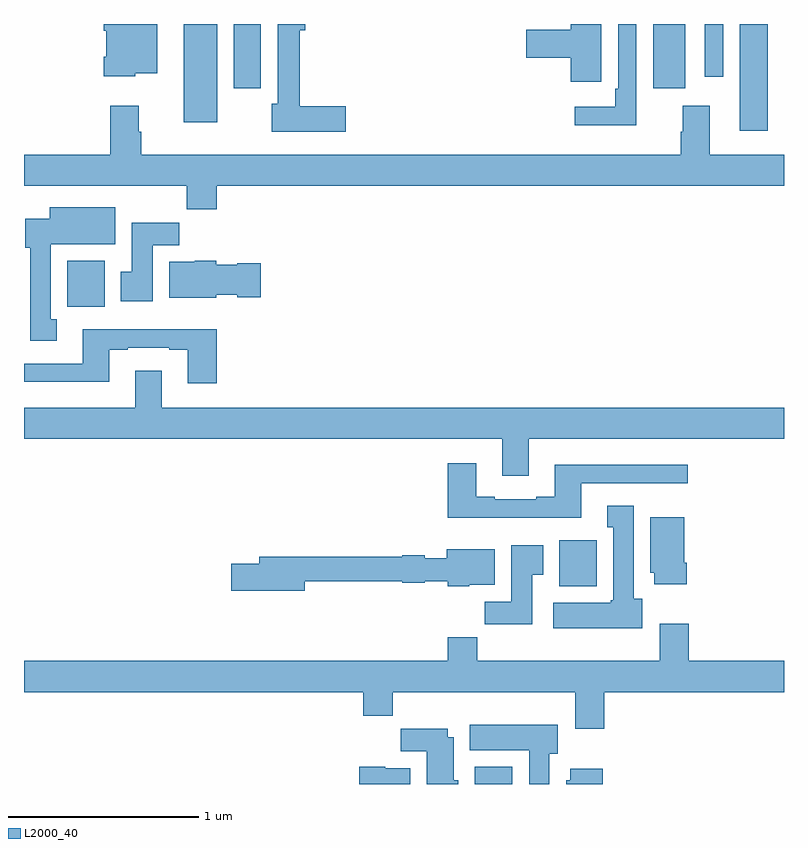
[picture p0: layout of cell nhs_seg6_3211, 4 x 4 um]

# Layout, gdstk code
import gdstk
lib = gdstk.Library(unit=1e-6, precision=1e-09)
def R(c, l, rs):  # rectangles x0, y0, x1, y1
    for r in rs: c.add(gdstk.rectangle(r[:2], r[2:], *l))
def P(c, l, *ps):  # polygons
    for p in ps: c.add(gdstk.Polygon(p, *l))
L2000_40 = (2000, 40)

nhs_seg6_3211 = lib.new_cell('nhs_seg6_3211')
R(nhs_seg6_3211, L2000_40, [(301.373,965.5,301.569,965.59), (301.817,966.542,302.014,966.784), (299.228,968.012,299.425,968.254), (302.768,968.937,302.915,969.5), (299.84,968.984,300.016,969.5), (300.104,969.162,300.247,969.5), (302.312,969.162,302.479,969.5), (302.583,969.222,302.679,969.5)])
P(nhs_seg6_3211, L2000_40, [(302.223,969.5),(302.127,969.5),(302.127,969.16),(302.111,969.16),(302.111,969.064),(301.899,969.064),(301.899,968.966),(302.223,968.966)],
  [(300.694,969.068),(300.452,969.068),(300.452,969.467),(300.479,969.467),(300.479,969.5),(300.336,969.5),(300.336,969.081),(300.305,969.081),(300.305,968.933),(300.694,968.933)],
  [(302.037,969.307),(302.038,969.307),(302.038,969.5),(301.877,969.5),(301.877,969.47),(301.644,969.47),(301.644,969.323),(301.877,969.323),(301.877,969.195),(302.037,969.195)],
  [(299.586,969.242),(299.701,969.242),(299.701,969.5),(299.42,969.5),(299.42,969.464),(299.432,969.464),(299.432,969.328),(299.42,969.328),(299.42,969.224),(299.586,969.224)],
  [(300.014,968.648),(303,968.648),(303,968.812),(302.608,968.812),(302.608,969.07),(302.468,969.07),(302.468,968.933),(302.456,968.933),(302.456,968.812),(299.618,968.812),(299.618,968.933),(299.605,968.933),(299.605,969.07),(299.453,969.07),(299.453,968.812),(299,968.812),(299,968.648),(299.857,968.648),(299.857,968.524),(300.014,968.524)],
  [(299.173,967.946),(299.14,967.946),(299.14,968.342),(299.479,968.342),(299.479,968.536),(299.135,968.536),(299.135,968.476),(299.006,968.476),(299.006,968.322),(299.033,968.322),(299.033,967.833),(299.173,967.833)],
  [(299.677,968.336),(299.816,968.336),(299.816,968.454),(299.567,968.454),(299.567,968.196),(299.51,968.196),(299.51,968.04),(299.677,968.04)],
  [(300.012,968.075),(300.123,968.075),(300.123,968.063),(300.247,968.063),(300.247,968.241),(300.123,968.241),(300.123,968.233),(300.012,968.233),(300.012,968.254),(299.898,968.254),(299.898,968.248),(299.765,968.248),(299.765,968.06),(300.012,968.06)],
  [(300.014,967.894),(299.309,967.894),(299.309,967.713),(299,967.713),(299,967.616),(299.449,967.616),(299.449,967.785),(299.545,967.785),(299.545,967.797),(299.765,967.797),(299.765,967.785),(299.861,967.785),(299.861,967.608),(300.014,967.608)],
  [(301.657,967.316),(303,967.316),(303,967.48),(299.725,967.48),(299.725,967.675),(299.585,967.675),(299.585,967.48),(299,967.48),(299,967.316),(301.517,967.316),(301.517,967.122),(301.657,967.122)],
  [(301.933,967.083),(302.494,967.083),(302.494,967.18),(301.793,967.18),(301.793,967.012),(301.697,967.012),(301.697,966.999),(301.477,966.999),(301.477,967.012),(301.381,967.012),(301.381,967.189),(301.229,967.189),(301.229,966.902),(301.933,966.902)],
  [(302.254,966.474),(302.209,966.474),(302.209,966.964),(302.069,966.964),(302.069,966.851),(302.102,966.851),(302.102,966.468),(302.089,966.468),(302.089,966.454),(301.785,966.454),(301.785,966.32),(302.254,966.32)],
  [(302.489,966.664),(302.476,966.664),(302.476,966.904),(302.297,966.904),(302.297,966.612),(302.318,966.612),(302.318,966.552),(302.489,966.552)],
  [(301.675,966.601),(301.732,966.601),(301.732,966.757),(301.565,966.757),(301.565,966.46),(301.426,966.46),(301.426,966.342),(301.675,966.342)],
  [(300.478,966.567),(300.99,966.567),(300.99,966.559),(301.11,966.559),(301.11,966.566),(301.23,966.566),(301.23,966.542),(301.344,966.542),(301.344,966.548),(301.477,966.548),(301.477,966.736),(301.226,966.736),(301.226,966.688),(301.11,966.688),(301.11,966.703),(300.99,966.703),(300.99,966.695),(300.239,966.695),(300.239,966.659),(300.09,966.659),(300.09,966.517),(300.478,966.517)],
  [(302.054,965.984),(303,965.984),(303,966.148),(302.498,966.148),(302.498,966.343),(302.345,966.343),(302.345,966.148),(301.385,966.148),(301.385,966.272),(301.229,966.272),(301.229,966.148),(299,966.148),(299,965.984),(300.785,965.984),(300.785,965.86),(300.941,965.86),(300.941,965.984),(301.901,965.984),(301.901,965.79),(302.054,965.79)],
  [(301.765,965.658),(301.81,965.658),(301.81,965.812),(301.346,965.812),(301.346,965.678),(301.658,965.678),(301.658,965.5),(301.765,965.5)],
  [(301.285,965.52),(301.261,965.52),(301.261,965.746),(301.231,965.746),(301.231,965.791),(300.982,965.791),(300.982,965.672),(301.121,965.672),(301.121,965.5),(301.285,965.5)],
  [(301.033,965.584),(300.9,965.584),(300.9,965.59),(300.764,965.59),(300.764,965.5),(301.033,965.5)],
  [(302.045,965.581),(301.874,965.581),(301.874,965.52),(301.853,965.52),(301.853,965.5),(302.045,965.5)])

lib.write_gds('nhs_seg6_3211.gds')
